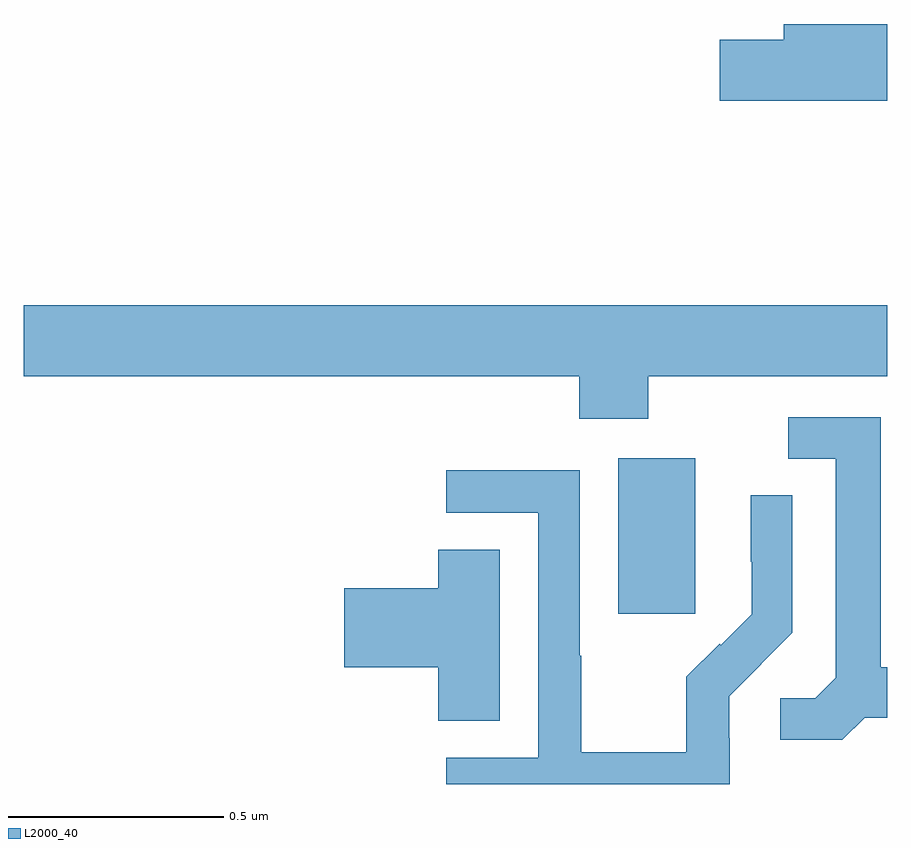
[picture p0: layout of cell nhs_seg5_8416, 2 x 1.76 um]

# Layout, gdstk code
import gdstk
lib = gdstk.Library(unit=1e-6, precision=1e-09)
def R(c, l, rs):  # rectangles x0, y0, x1, y1
    for r in rs: c.add(gdstk.rectangle(r[:2], r[2:], *l))
def P(c, l, *ps):  # polygons
    for p in ps: c.add(gdstk.Polygon(p, *l))
L2000_40 = (2000, 40)

nhs_seg5_8416 = lib.new_cell('nhs_seg5_8416')
R(nhs_seg5_8416, L2000_40, [(222.377,872.193,222.556,872.554)])
P(nhs_seg5_8416, L2000_40, [(223,873.56),(222.761,873.56),(222.761,873.524),(222.612,873.524),(222.612,873.382),(223,873.382)],
  [(221,872.744),(222.287,872.744),(222.287,872.645),(222.447,872.645),(222.447,872.744),(223,872.744),(223,872.908),(221,872.908)],
  [(222.948,871.953),(223,871.953),(223,872.069),(222.985,872.069),(222.985,872.649),(222.771,872.649),(222.771,872.553),(222.881,872.553),(222.881,872.045),(222.834,871.998),(222.753,871.998),(222.753,871.901),(222.896,871.901)],
  [(222.636,871.905),(222.634,871.905),(222.634,872.002),(222.708,872.076),(222.707,872.077),(222.78,872.15),(222.78,872.468),(222.684,872.468),(222.684,872.314),(222.686,872.314),(222.686,872.192),(222.615,872.121),(222.612,872.124),(222.535,872.047),(222.535,871.873),(222.291,871.873),(222.291,872.096),(222.288,872.096),(222.288,872.526),(221.979,872.526),(221.979,872.427),(222.192,872.427),(222.192,871.86),(221.979,871.86),(221.979,871.799),(222.636,871.799)],
  [(222.103,872.342),(221.96,872.342),(221.96,872.252),(221.742,872.252),(221.742,872.069),(221.96,872.069),(221.96,871.945),(222.103,871.945)])

lib.write_gds('nhs_seg5_8416.gds')
